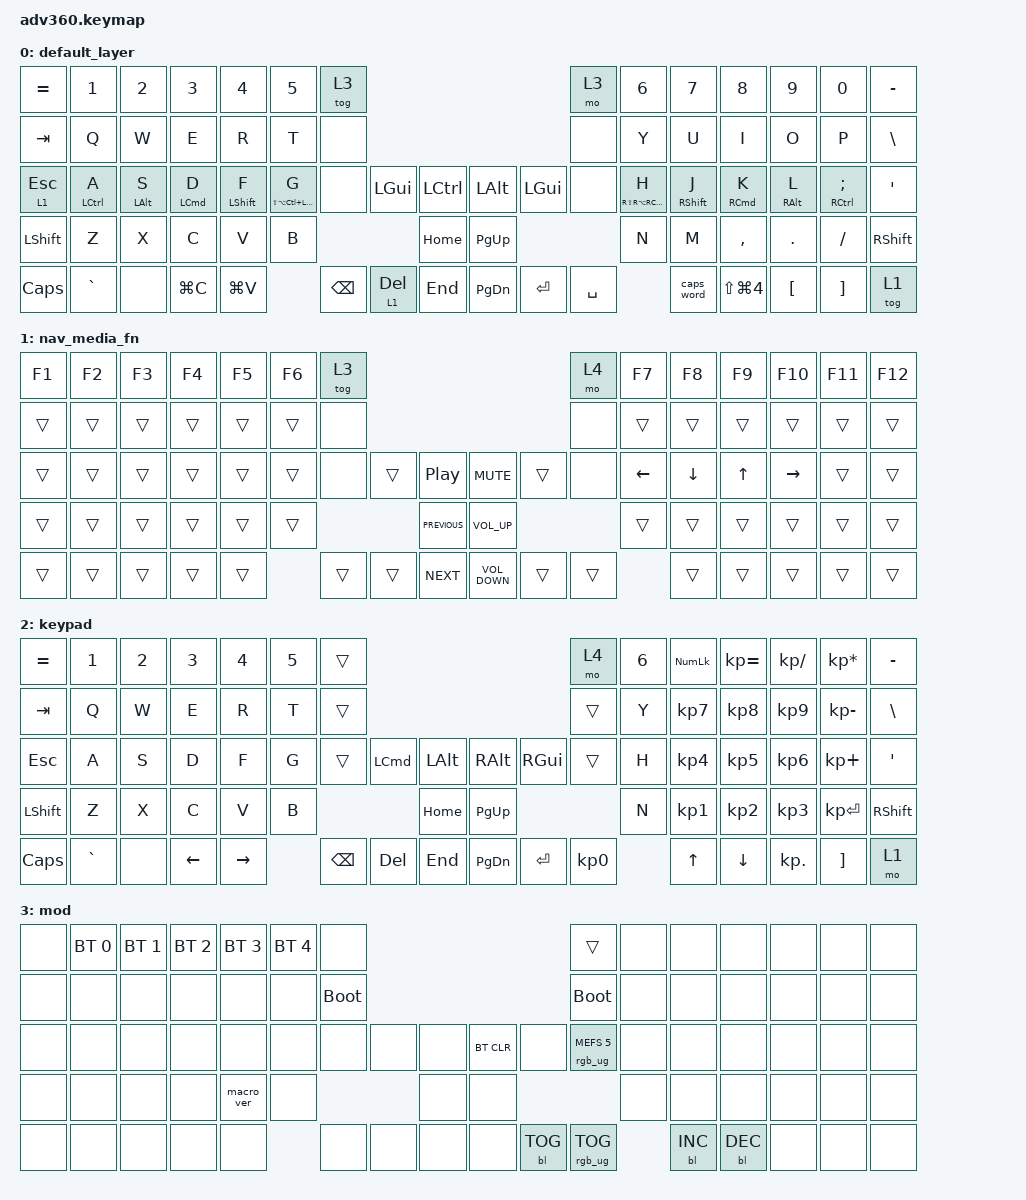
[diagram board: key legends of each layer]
#include <behaviors.dtsi>
#include <dt-bindings/zmk/backlight.h>
#include <dt-bindings/zmk/bt.h>
#include <dt-bindings/zmk/keys.h>
#include <dt-bindings/zmk/rgb.h>

/ {
    behaviors {
        #include "macros.dtsi"
      #include "version.dtsi"
      #ifndef VERSION_MACRO

        macro_ver: macro_ver {
            compatible = "zmk,behavior-macro";
            label = "macro_version";
            #binding-cells = <0>;
            bindings = <&kp RET>;
        };

        #endif

        hm: homerow_mods {
            compatible = "zmk,behavior-hold-tap";
            label = "HOMEROW_MODS";
            #binding-cells = <2>;
            tapping-term-ms = <200>;
            quick_tap_ms = <175>;
            flavor = "tap-preferred";
            bindings = <&kp>, <&kp>;
        };

        as: as {
            compatible = "zmk,behavior-hold-tap";
            label = "AS";
            bindings = <&kp>, <&kp>;

            #binding-cells = <2>;
            tapping-term-ms = <135>;
            quick-tap-ms = <0>;
            flavor = "tap-preferred";
        };
    };

    macros {
    };

    keymap {
        compatible = "zmk,keymap";

        default_layer {
            bindings = <
&kp EQUAL     &kp NUMBER_1        &kp NUMBER_2    &kp N3              &kp N4            &kp N5                          &tog 3                                                                    &mo 3      &kp N6                           &kp N7             &kp N8                &kp N9           &kp N0               &kp MINUS
&kp TAB       &kp Q               &kp W           &kp E               &kp R             &kp T                           &none                                                                     &none      &kp Y                            &kp U              &kp I                 &kp O            &kp P                &kp BSLH
&lt 1 ESC     &hm LEFT_CONTROL A  &hm LEFT_ALT S  &hm LEFT_COMMAND D  &hm LEFT_SHIFT F  &hm LS(LA(LC(LEFT_COMMAND))) G  &none     &kp LEFT_GUI  &kp LEFT_CONTROL      &kp LEFT_ALT  &kp LEFT_GUI  &none      &hm RS(RA(RC(RIGHT_COMMAND))) H  &hm RIGHT_SHIFT J  &hm RIGHT_COMMAND K   &hm RIGHT_ALT L  &hm RCTRL SEMICOLON  &kp SQT
&kp LSHFT     &kp Z               &kp X           &kp C               &kp V             &kp B                                                   &kp HOME              &kp PG_UP                              &kp N                            &kp M              &kp COMMA             &kp DOT          &kp FSLH             &kp RSHFT
&kp CAPSLOCK  &kp GRAVE           &none           &kp LG(C)           &kp LG(V)                                         &kp BSPC  &lt 1 DELETE  &kp END               &kp PG_DN     &kp ENTER     &kp SPACE                                   &caps_word         &kp LS(LG(NUMBER_4))  &kp LBKT         &kp RBKT             &tog 1
            >;
        };

        nav_media_fn {
            bindings = <
&kp F1  &kp F2  &kp F3  &kp F4  &kp F5  &kp F6  &tog 3                                                           &mo 4   &kp F7          &kp F8          &kp F9        &kp F10          &kp F11  &kp F12
&trans  &trans  &trans  &trans  &trans  &trans  &none                                                            &none   &trans          &trans          &trans        &trans           &trans   &trans
&trans  &trans  &trans  &trans  &trans  &trans  &none   &trans  &kp C_PLAY_PAUSE      &kp C_MUTE         &trans  &none   &kp LEFT_ARROW  &kp DOWN_ARROW  &kp UP_ARROW  &kp RIGHT_ARROW  &trans   &trans
&trans  &trans  &trans  &trans  &trans  &trans                  &kp C_PREVIOUS        &kp C_VOLUME_UP                    &trans          &trans          &trans        &trans           &trans   &trans
&trans  &trans  &trans  &trans  &trans          &trans  &trans  &kp C_NEXT            &kp C_VOLUME_DOWN  &trans  &trans                  &trans          &trans        &trans           &trans   &trans
            >;
        };

        keypad {
            bindings = <
&kp EQUAL     &kp N1     &kp N2  &kp N3    &kp N4     &kp N5  &trans                                                                  &mo 4      &kp N6  &kp KP_NUM  &kp KP_EQUAL  &kp KP_DIVIDE  &kp KP_MULTIPLY  &kp MINUS
&kp TAB       &kp Q      &kp W   &kp E     &kp R      &kp T   &trans                                                                  &trans     &kp Y   &kp KP_N7   &kp KP_N8     &kp KP_N9      &kp KP_MINUS     &kp BSLH
&kp ESC       &kp A      &kp S   &kp D     &kp F      &kp G   &trans    &kp LEFT_COMMAND  &kp LALT      &kp RIGHT_ALT  &kp RIGHT_GUI  &trans     &kp H   &kp KP_N4   &kp KP_N5     &kp KP_N6      &kp KP_PLUS      &kp SQT
&kp LSHFT     &kp Z      &kp X   &kp C     &kp V      &kp B                               &kp HOME      &kp PG_UP                                &kp N   &kp KP_N1   &kp KP_N2     &kp KP_N3      &kp KP_ENTER     &kp RSHFT
&kp CAPSLOCK  &kp GRAVE  &none   &kp LEFT  &kp RIGHT          &kp BSPC  &kp DEL           &kp END       &kp PG_DN      &kp ENTER      &kp KP_N0          &kp UP      &kp DOWN      &kp KP_DOT     &kp RBKT         &mo 1
            >;
        };

        mod {
            bindings = <
&none  &bt BT_SEL 0  &bt BT_SEL 1  &bt BT_SEL 2  &bt BT_SEL 3  &bt BT_SEL 4  &none                                                  &trans                  &none  &none       &none       &none  &none  &none
&none  &none         &none         &none         &none         &none         &bootloader                                            &bootloader             &none  &none       &none       &none  &none  &none
&none  &none         &none         &none         &none         &none         &none        &none  &none      &bt BT_CLR  &none       &rgb_ug RGB_MEFS_CMD 5  &none  &none       &none       &none  &none  &none
&none  &none         &none         &none         &macro_ver    &none                             &none      &none                                           &none  &none       &none       &none  &none  &none
&none  &none         &none         &none         &none                       &none        &none  &none      &none       &bl BL_TOG  &rgb_ug RGB_TOG                &bl BL_INC  &bl BL_DEC  &none  &none  &none
            >;
        };
    };
};
